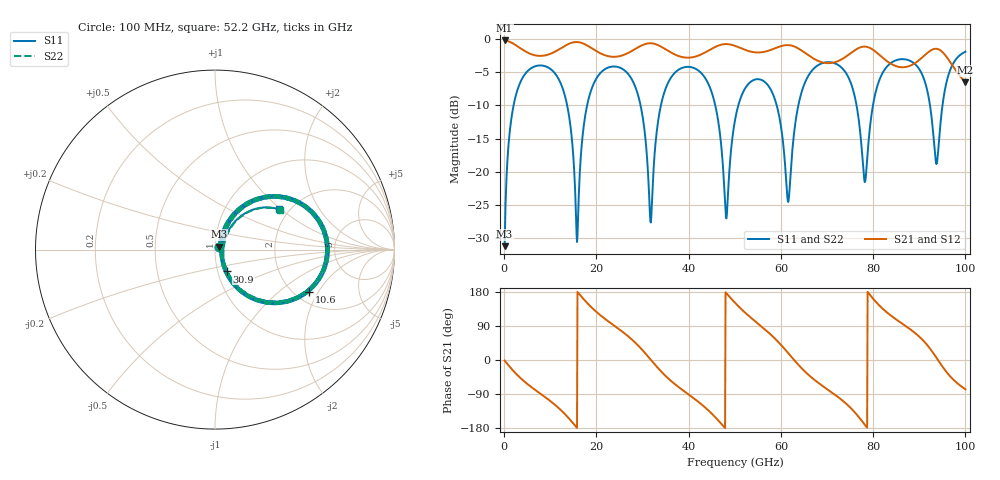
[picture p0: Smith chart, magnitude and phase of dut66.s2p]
! Touchstone file exported from HFSS 2026.1.0
!  File:  C:/ffzhzh/LocalFiles/Ansys_Project_Files/temp_train_TSV_RDL_66_1783625225_29156.aedt
!  Generated:  03:37:11 AM Jul 10, 2026
!  Design:  TSV_RDL
!  Project:  temp_train_TSV_RDL_66_1783625225_29156
! Variables:
!  h_bsmrdl = 4.95um
!  h_ox = 20um
!  h_rdl = 5um
!  h_sub = 84.27um
!  h_tmrdl = 3.64um
!  h_tsv = 84.27um
!  h_via = 3um
!  l_bsmrdl = 307.8um
!  l_sub = 3773.67um
!  l_tmrdl = 590.57um
!  m_sub = 200um
!  pitch = 53.51um
!  r_tsv = 5.58um
!  s_tmrdl = 10um
!  w_bsmrdl = 10.59um
!  w_sub = 500um
!  w_tmrdl = 18.74um
!  x_tsv_center1 = 599.94um
!  x_tsv_center2 = 918.33um
!  x_tsv_center3 = 1527.64um
!  x_tsv_center4 = 1846.03um
!  x_tsv_center5 = 2455.34um
!  x_tsv_center6 = 2773.73um
# GHz S MA R 50.000000
! Terminal data exported
! Port[1] = TM_RDL1_1_T1
! Port[2] = TM_RDL5_1_T1
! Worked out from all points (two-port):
!   1000 points, 100 MHz to 100 GHz, reference 50 ohm
!   highest |S21| = -0.19 dB at 100 MHz (marker M1); lowest = -6.5 dB at 100 GHz (marker M2)
!   |S21| within 3 dB of the highest: start of sweep to 67.8 GHz; 72.75 GHz to 82.76 GHz (10.01 GHz wide, 12.9 % of centre) (the widest 2 of 3)
!   lowest |S11| = -31.2 dB at 100 MHz (marker M3), VSWR 1.06, Z = 52.2 + j1.79 ohm
!   |S11| at or under -10 dB: 29.58 GHz to 33.98 GHz (4.401 GHz wide, 13.8 % of centre); 45.78 GHz to 50.76 GHz (4.985 GHz wide, 10.3 % of centre); 59.1 GHz to 63.78 GHz (4.674 GHz wide, 7.61 % of centre) (the widest 3 of 7)
!   |S22| runs from -31.2 to -1.9 dB; largest |S21 - S12| = 4.6e-14
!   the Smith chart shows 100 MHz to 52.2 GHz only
!   S11 on the Smith chart (normalised r, x): 100 MHz: 1.04, +0.04; 10.6 GHz: 2.37, -1.67; 30.9 GHz: 1.11, -0.28; 52.2 GHz: 1.78, +0.97
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0.1  0.02742 38.6  0.9789 -1.5  0.9789 -1.5  0.02742 38.6
! Gamma 0 0 0 0
! Port Impedance 50 0 50 0
2.9  0.4161 46.4  0.8838 -40.1  0.8838 -40.1  0.4161 46.4
10.6  0.5735 -24.3  0.7921 -114.0  0.7921 -114.0  0.5735 -24.3
15.7  0.03397 -28.9  0.9527 -177.6  0.9527 -177.6  0.03422 -28.6
16.8  0.1567 64.8  0.938 166.7  0.938 166.7  0.1568 64.7
24.2  0.6216 -3.0  0.7375 87.7  0.7375 87.7  0.6216 -2.9
30.9  0.1392 -60.8  0.9259 13.4  0.9259 13.4  0.1396 -60.2
31.9  0.04579 24.4  0.9318 -0.9  0.9318 -0.9  0.04725 23.7
33.4  0.2437 58.2  0.9015 -21.9  0.9015 -21.9  0.244 57.9
43.2  0.5319 -29.4  0.7822 -121.2  0.7822 -121.2  0.5321 -29.2
48.1  0.0448 -13.1  0.9196 177.4  0.9196 177.4  0.04795 -12.4
50.1  0.2502 51.3  0.8898 150.4  0.8898 150.4  0.2508 50.7
52.2  0.423 31.9  0.8318 125.4  0.8318 125.4  0.4233 31.6
58.2  0.3906 -22.9  0.8404 62.6  0.8404 62.6  0.3908 -23.0
61.6  0.05909 19.2  0.9026 18.0  0.9026 18.0  0.06003 19.0
66.7  0.5779 39.3  0.7277 -46.7  0.7277 -46.7  0.578 39.2
74.5  0.527 -24.3  0.756 -119.2  0.756 -119.2  0.527 -24.4
78.2  0.08341 8.1  0.8798 -170.8  0.8798 -170.8  0.08325 8.0
83.4  0.6423 27.5  0.668 121.4  0.668 121.4  0.6423 27.5
90.3  0.571 -26.1  0.7114 58.2  0.7114 58.2  0.5713 -26.0
93.7  0.1143 1.5  0.8473 6.5  0.8473 6.5  0.1174 1.6
100  0.805 8.7  0.4731 -77.2  0.4731 -77.2  0.8053 8.6
